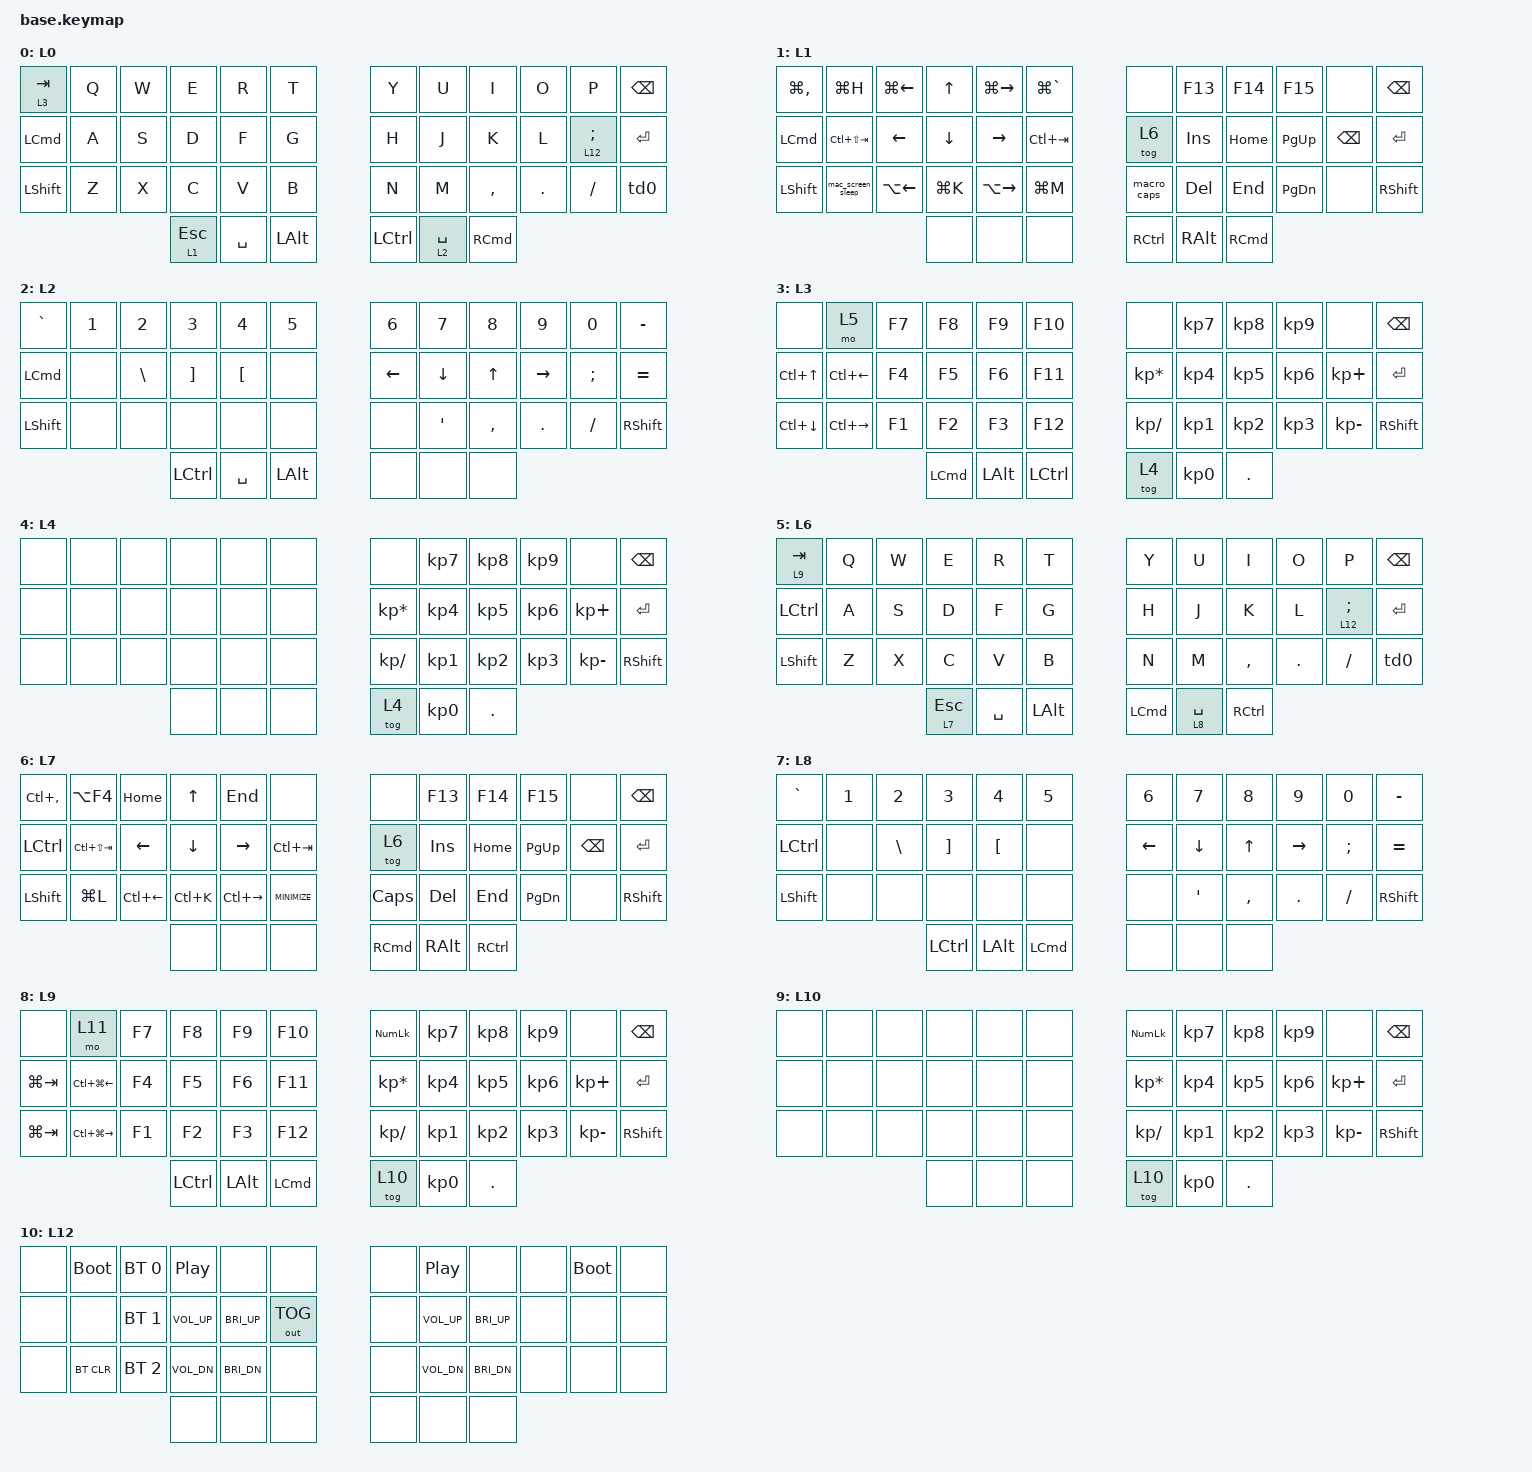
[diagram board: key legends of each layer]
#include <behaviors.dtsi>
#include <dt-bindings/zmk/keys.h>
#if CONFIG_WIRELESS
    #include <dt-bindings/zmk/bt.h>
    #define _BT_SEL_KEYS_ &bt BT_SEL 0 &bt BT_SEL 1 &bt BT_SEL 2 &bt BT_SEL 3 &bt BT_CLR
#else
    #define _BT_SEL_KEYS_ &trans &trans &trans &trans &trans
#endif

#include "zmk-helpers/helper.h"
#include "zmk-helpers/unicode-chars/greek.dtsi"
#include "zmk-helpers/unicode-chars/german.dtsi"

//#include "combos.dtsi"  // requires layer aliases
#include "key-common.dtsi"

//#include "mouse.dtsi"
//#include "extra_keys.h"



#define L0 0
#define L1 1
#define L2 2
#define L3 3
#define L4 4
#define L5 5
#define L6 6
#define L7 7
#define L8 8
#define L9 9
#define L10 10
#define L11 11
#define L12 12





// #define QUICK_TAP_MS 175


&lt {
    flavor = "hold-preferred";
    tapping-term-ms = <200>;
    quick-tap-ms = <175>;
};




&mt {
    flavor = "tap-preferred";
    tapping-term-ms = <200>;
    quick-tap-ms = <200>;
    hold-trigger-key-positions = <0>;
};




ZMK_BEHAVIOR(td0, tap_dance,
    tapping-term-ms = <200>;
    bindings = <&kp RSHFT>, <&kp CAPS>;
)






/* Keymap */


ZMK_LAYER(L0,
   &lt L3 TAB  &kp Q  &kp W  &kp E       &kp R      &kp T             &kp Y      &kp U         &kp I      &kp O    &kp P         &kp BSPC
   &kp LCMD    &kp A  &kp S  &kp D       &kp F      &kp G             &kp H      &kp J         &kp K      &kp L    &lt L12 SEMI  &kp ENTER
   &kp LSHFT   &kp Z  &kp X  &kp C       &kp V      &kp B             &kp N      &kp M         &kp COMMA  &kp DOT  &kp FSLH      &td0
                             &lt L1 ESC  &kp SPACE  &kp LALT          &kp LCTRL  &lt L2 SPACE  &kp RCMD
)


ZMK_LAYER(L1,
   &kp LG(COMMA)  &kp LG(H)          &kp LG(LEFT)  &kp UP     &kp LG(RIGHT)  &kp LG(GRAVE)          &none        &kp F13   &kp F14   &kp F15        &none     &kp BSPC
   &kp LCMD       &kp LC(LS(TAB))    &kp LEFT      &kp DOWN   &kp RIGHT      &kp LC(TAB)            &tog L6      &kp INS   &kp HOME  &kp PAGE_UP    &kp BSPC  &kp ENTER
   &kp LSHFT      &mac_screen_sleep  &kp LA(LEFT)  &kp LG(K)  &kp LA(RIGHT)  &kp LG(M)              &macro_caps  &kp DEL   &kp END   &kp PAGE_DOWN  &none     &kp RSHFT
                          	                       &none      &none          &none                  &kp RCTRL    &kp RALT  &kp RCMD
)

ZMK_LAYER(L2,
   &kp GRAVE  &kp N1  &kp N2    &kp N3     &kp N4     &kp N5            &kp N6    &kp N7            &kp N8     &kp N9     &kp N0    &kp MINUS
   &kp LCMD   &none   &kp BSLH  &kp RBKT   &kp LBKT   &none             &kp LEFT  &kp DOWN          &kp UP     &kp RIGHT  &kp SEMI  &kp EQUAL
   &kp LSHFT  &none   &none     &none      &none      &none             &none     &kp SINGLE_QUOTE  &kp COMMA  &kp DOT    &kp FSLH  &kp RSHFT
                    	        &kp LCTRL  &kp SPACE  &kp LALT          &none     &none             &none
)


ZMK_LAYER(L3,
   &none         &mo L5         &kp F7  &kp F8    &kp F9    &kp F10           &none            &kp KP_N7  &kp KP_N8  &kp KP_N9  &none         &kp BSPC
   &kp LC(UP)    &kp LC(LEFT)   &kp F4  &kp F5    &kp F6    &kp F11           &kp KP_MULTIPLY  &kp KP_N4  &kp KP_N5  &kp KP_N6  &kp KP_PLUS   &kp ENTER
   &kp LC(DOWN)  &kp LC(RIGHT)  &kp F1  &kp F2    &kp F3    &kp F12           &kp KP_DIVIDE    &kp KP_N1  &kp KP_N2  &kp KP_N3  &kp KP_MINUS  &kp RSHFT
                                        &kp LCMD  &kp LALT  &kp LCTRL         &tog L4          &kp KP_N0  &kp DOT
)

ZMK_LAYER(L4,
   &none  &none  &none  &none  &none  &none          &none            &kp KP_N7  &kp KP_N8  &kp KP_N9  &none         &kp BSPC
   &none  &none  &none  &none  &none  &none          &kp KP_MULTIPLY  &kp KP_N4  &kp KP_N5  &kp KP_N6  &kp KP_PLUS   &kp ENTER
   &none  &none  &none  &none  &none  &none          &kp KP_DIVIDE    &kp KP_N1  &kp KP_N2  &kp KP_N3  &kp KP_MINUS  &kp RSHFT
                        &none  &none  &none          &tog L4          &kp KP_N0  &kp DOT
)


ZMK_LAYER(L5,
   &none  &none              &kp LC(LA(LS(W)))  &kp LC(LA(LS(E)))  &kp LC(LA(LS(R)))      &kp LC(LA(LS(T)))          &kp LC(LA(LS(Y)))  &kp LC(LA(LS(U)))      &kp LC(LA(LS(I)))      &kp LC(LA(LS(O)))    &kp LC(LA(LS(P)))     &kp LC(LA(LS(BSPC)))
   &none  &kp LC(LA(LS(A)))  &kp LC(LA(LS(S)))  &kp LC(LA(LS(D)))  &kp LC(LA(LS(F)))      &kp LC(LA(LS(G)))          &kp LC(LA(LS(H)))  &kp LC(LA(LS(J)))      &kp LC(LA(LS(K)))      &kp LC(LA(LS(L)))    &kp LC(LA(LS(SEMI)))  &kp LC(LA(LS(ENTER)))
   &none  &kp LC(LA(LS(Z)))  &kp LC(LA(LS(X)))  &kp LC(LA(LS(C)))  &kp LC(LA(LS(V)))      &kp LC(LA(LS(B)))          &kp LC(LA(LS(N)))  &kp LC(LA(LS(M)))      &kp LC(LA(LS(COMMA)))  &kp LC(LA(LS(DOT)))  &kp LC(LA(LS(FSLH)))  &none
                                                &none              &kp LC(LA(LS(SPACE)))  &none                      &none              &kp LC(LA(LS(SPACE)))  &none
)


ZMK_LAYER(L6,
   &lt L9 TAB  &kp Q  &kp W  &kp E       &kp R      &kp T             &kp Y     &kp U         &kp I      &kp O    &kp P         &kp BSPC
   &kp LCTRL   &kp A  &kp S  &kp D       &kp F      &kp G             &kp H     &kp J         &kp K      &kp L    &lt L12 SEMI  &kp ENTER
   &kp LSHFT   &kp Z  &kp X  &kp C       &kp V      &kp B             &kp N     &kp M         &kp COMMA  &kp DOT  &kp FSLH      &td0
                             &lt L7 ESC  &kp SPACE  &kp LALT          &kp LCMD  &lt L8 SPACE  &kp RCTRL
)


ZMK_LAYER(L7,
   &kp LC(COMMA)  &kp LA(F4)       &kp HOME      &kp UP     &kp END        &none                &none     &kp F13   &kp F14   &kp F15        &none     &kp BSPC
   &kp LCTRL      &kp LC(LS(TAB))  &kp LEFT      &kp DOWN   &kp RIGHT      &kp LC(TAB)          &tog L6   &kp INS   &kp HOME  &kp PAGE_UP    &kp BSPC  &kp ENTER
   &kp LSHFT      &kp LG(L)        &kp LC(LEFT)  &kp LC(K)  &kp LC(RIGHT)  &MINIMIZE            &kp CAPS  &kp DEL   &kp END   &kp PAGE_DOWN  &none     &kp RSHFT
                          	                       &none      &none        &none                &kp RCMD  &kp RALT  &kp RCTRL
)


ZMK_LAYER(L8,
   &kp GRAVE  &kp N1  &kp N2    &kp N3     &kp N4     &kp N5            &kp N6    &kp N7            &kp N8     &kp N9     &kp N0    &kp MINUS
   &kp LCTRL  &none   &kp BSLH  &kp RBKT   &kp LBKT   &none             &kp LEFT  &kp DOWN          &kp UP     &kp RIGHT  &kp SEMI  &kp EQUAL
   &kp LSHFT  &none   &none     &none      &none      &none             &none     &kp SINGLE_QUOTE  &kp COMMA  &kp DOT    &kp FSLH  &kp RSHFT
                    	        &kp LCTRL  &kp LALT   &kp LCMD          &none     &none             &none
)


ZMK_LAYER(L9,
   &none        &mo L11            &kp F7  &kp F8     &kp F9    &kp F10           &kp KP_NUM       &kp KP_N7  &kp KP_N8  &kp KP_N9  &none         &kp BSPC
   &kp LG(TAB)  &kp LC(LG(LEFT))   &kp F4  &kp F5     &kp F6    &kp F11           &kp KP_MULTIPLY  &kp KP_N4  &kp KP_N5  &kp KP_N6  &kp KP_PLUS   &kp ENTER
   &kp LG(TAB)  &kp LC(LG(RIGHT))  &kp F1  &kp F2     &kp F3    &kp F12           &kp KP_DIVIDE    &kp KP_N1  &kp KP_N2  &kp KP_N3  &kp KP_MINUS  &kp RSHFT
                                           &kp LCTRL  &kp LALT  &kp LCMD          &tog L10         &kp KP_N0  &kp DOT
)


ZMK_LAYER(L10,
   &none  &none  &none  &none  &none  &none          &kp KP_NUM       &kp KP_N7  &kp KP_N8  &kp KP_N9  &none         &kp BSPC
   &none  &none  &none  &none  &none  &none          &kp KP_MULTIPLY  &kp KP_N4  &kp KP_N5  &kp KP_N6  &kp KP_PLUS   &kp ENTER
   &none  &none  &none  &none  &none  &none          &kp KP_DIVIDE    &kp KP_N1  &kp KP_N2  &kp KP_N3  &kp KP_MINUS  &kp RSHFT
                        &none  &none  &none          &tog L10         &kp KP_N0  &kp DOT
)


ZMK_LAYER(L11,
   &none  &none              &kp LC(LA(LS(W)))  &kp LC(LA(LS(E)))  &kp LC(LA(LS(R)))      &kp LC(LA(LS(T)))          &kp LC(LA(LS(Y)))  &kp LC(LA(LS(U)))      &kp LC(LA(LS(I)))      &kp LC(LA(LS(O)))    &kp LC(LA(LS(P)))     &kp LC(LA(LS(BSPC)))
   &none  &kp LC(LA(LS(A)))  &kp LC(LA(LS(S)))  &kp LC(LA(LS(D)))  &kp LC(LA(LS(F)))      &kp LC(LA(LS(G)))          &kp LC(LA(LS(H)))  &kp LC(LA(LS(J)))      &kp LC(LA(LS(K)))      &kp LC(LA(LS(L)))    &kp LC(LA(LS(SEMI)))  &kp LC(LA(LS(ENTER)))
   &none  &kp LC(LA(LS(Z)))  &kp LC(LA(LS(X)))  &kp LC(LA(LS(C)))  &kp LC(LA(LS(V)))      &kp LC(LA(LS(B)))          &kp LC(LA(LS(N)))  &kp LC(LA(LS(M)))      &kp LC(LA(LS(COMMA)))  &kp LC(LA(LS(DOT)))  &kp LC(LA(LS(FSLH)))  &none
                                                &none              &kp LC(LA(LS(SPACE)))  &none                      &none              &kp LC(LA(LS(SPACE)))  &none
)


ZMK_LAYER(L12,
   &none  &bootloader  &bt BT_SEL 0  &kp C_PLAY_PAUSE  &none         &none                 &none   &kp C_PLAY_PAUSE  &none         &none  &bootloader  &none
   &none  &none        &bt BT_SEL 1  &kp C_VOL_UP      &kp C_BRI_UP  &out OUT_TOG          &none   &kp C_VOL_UP      &kp C_BRI_UP  &none  &none        &none
   &none  &bt BT_CLR   &bt BT_SEL 2  &kp C_VOL_DN      &kp C_BRI_DN  &none                 &none   &kp C_VOL_DN      &kp C_BRI_DN  &none  &none        &none
                                     &none             &none         &none                 &none   &none             &none
)
